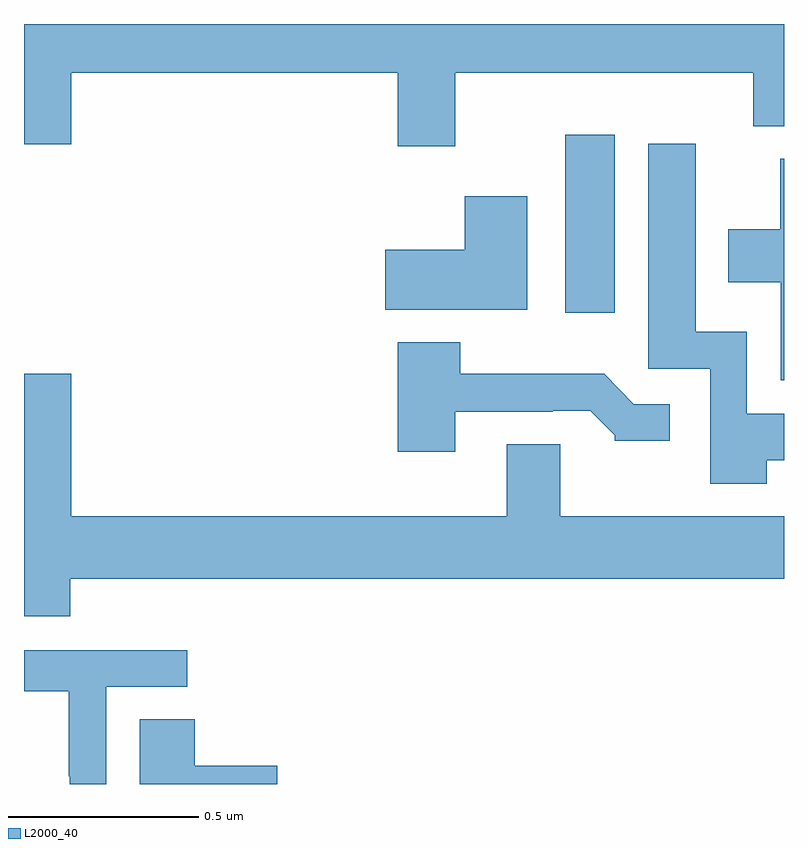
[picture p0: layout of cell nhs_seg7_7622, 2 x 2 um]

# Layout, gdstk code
import gdstk
lib = gdstk.Library(unit=1e-6, precision=1e-09)
def R(c, l, rs):  # rectangles x0, y0, x1, y1
    for r in rs: c.add(gdstk.rectangle(r[:2], r[2:], *l))
def P(c, l, *ps):  # polygons
    for p in ps: c.add(gdstk.Polygon(p, *l))
L2000_40 = (2000, 40)

nhs_seg7_7622 = lib.new_cell('nhs_seg7_7622')
R(nhs_seg7_7622, L2000_40, [(214.424,1077.24,214.555,1077.709)])
P(nhs_seg7_7622, L2000_40, [(213,1077.684),(213.124,1077.684),(213.124,1077.872),(213.983,1077.872),(213.983,1077.678),(214.135,1077.678),(214.135,1077.872),(214.919,1077.872),(214.919,1077.731),(215,1077.731),(215,1078),(213,1078)],
  [(214.955,1076.852),(215,1076.852),(215,1076.974),(214.902,1076.974),(214.902,1077.19),(214.768,1077.19),(214.768,1077.685),(214.643,1077.685),(214.643,1077.093),(214.806,1077.093),(214.806,1076.79),(214.955,1076.79)],
  [(215,1077.646),(214.99,1077.646),(214.99,1077.46),(214.853,1077.46),(214.853,1077.32),(214.992,1077.32),(214.992,1077.063),(215,1077.063)],
  [(214.324,1077.547),(214.16,1077.547),(214.16,1077.406),(213.951,1077.406),(213.951,1077.248),(214.324,1077.248)],
  [(214.135,1076.979),(214.391,1076.979),(214.391,1076.982),(214.49,1076.982),(214.554,1076.918),(214.554,1076.903),(214.699,1076.903),(214.699,1077),(214.605,1077),(214.527,1077.079),(214.148,1077.079),(214.148,1077.163),(213.983,1077.163),(213.983,1076.874),(214.135,1076.874)],
  [(213.122,1076.54),(215,1076.54),(215,1076.704),(214.411,1076.704),(214.411,1076.894),(214.271,1076.894),(214.271,1076.704),(213.124,1076.704),(213.124,1077.079),(213,1077.079),(213,1076.441),(213.122,1076.441)],
  [(213.216,1076.256),(213.43,1076.256),(213.43,1076.352),(213,1076.352),(213,1076.244),(213.118,1076.244),(213.118,1076.02),(213.12,1076.02),(213.12,1076),(213.216,1076)],
  [(213.667,1076.048),(213.449,1076.048),(213.449,1076.171),(213.305,1076.171),(213.305,1076),(213.667,1076)])

lib.write_gds('nhs_seg7_7622.gds')
